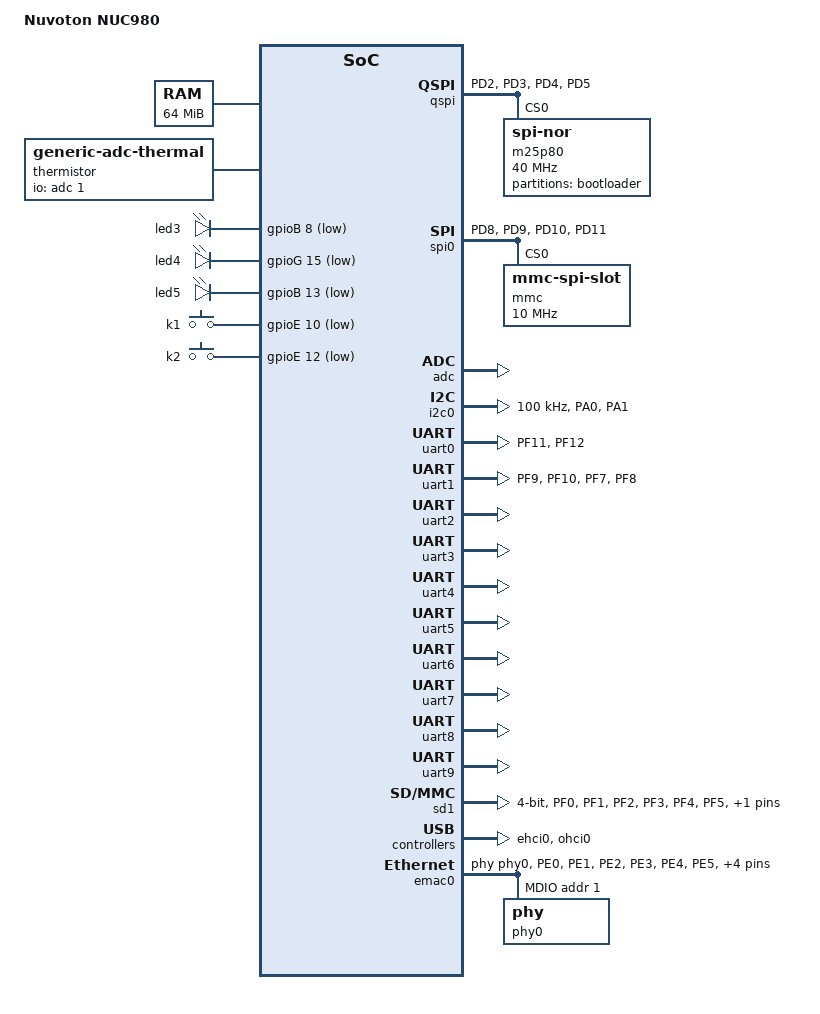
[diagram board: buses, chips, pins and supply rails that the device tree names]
/dts-v1/;

/ {
	compatible = "nuvoton,nuc980";
	model = "Nuvoton NUC980";
	#address-cells = <1>;
	#size-cells = <1>;

	cpus {
		cpu {
			compatible = "arm,arm926ej-s";
			device_type = "cpu";
			clocks = <&clk 0x10 0 0>;
		};
	};

	aliases {
		serial0 = &uart0;
		serial1 = &uart1;
		serial2 = &uart2;
		serial3 = &uart3;
		serial4 = &uart4;
		serial5 = &uart5;
		serial6 = &uart6;
		serial7 = &uart7;
		serial8 = &uart8;
		serial9 = &uart9;
		mdio-gpio1 = &mdio1;
	};

	chosen {
		bootargs = "console=ttyS0,115200n8 earlycon";
		// bootargs = "console=ttyS0,115200n8 earlyprintk ignore_loglevel lpj=744448";
		stdout-path = "serial0";
		linux,initrd-start = <0xFFFFFFFF>; // placeholder, bootloader sets correct values
		linux,initrd-end = <0xFFFFFFFF>;
	};

	memory {
		device_type = "memory";
		reg = <0 0x4000000>;
	};

	thermal-zones {
		board {
			polling-delay = <15000>;
			polling-delay-passive = <0>;
			thermal-sensors = <&thermistor>;
		};
	};

	apb {
		compatible = "simple-bus";
		ranges;
		#address-cells = <1>;
		#size-cells = <1>;

		aic: nuc980-aic@b0042000 {
			compatible = "nuvoton,nuc980-aic";
			reg = <0xb0042000 0x1000>;
			resets = <&reset 0x64 4>;
			interrupt-controller;
			#interrupt-cells = <2>;
		};

		clk: nuc980-clk@b00000100 {
			compatible = "nuvoton,nuc980-clk";
			reg = <0xb0000200 0x100>;
			#clock-cells = <3>;
		};

		qspi: nuc980-spi@b00610000 {
			compatible = "nuvoton,nuc980-spi";
			reg = <0xb0060000 0x40>;
			clocks = <&clk 0x1c 4 0>, <&clk 0x1c 4 1>;
			clock-names = "pclk", "eclk";
			resets = <&reset 0x68 4>;
			interrupts-extended = <&aic 51 4>;
			dmas = <&pdma0 20>, <&pdma0 21>;
			dma-names = "tx", "rx";
			num-chipselects = <1>;
			// nuvoton,enable-dual;
			// nuvoton,enable-quad;
			pinctrl-names = "default";
			pinctrl-0 = <&pinctrl_qspi>;
			#address-cells = <1>;
			#size-cells = <0>;
			m25p80@0 {
				compatible = "jedec,spi-nor";
				reg = <0>;
				spi-max-frequency = <40000000>;
				#address-cells = <1>;
				#size-cells = <1>;
				bootloader: partition@0 {
					label = "bootloader";
					reg = <0x0 0x40000>;
				};
				test: test@40000 {
					label = "test";
					reg = <0x40005 0x41000>;
				};
			};
		};

		spi0: nuc980-spi@b0061000 {
			compatible = "nuvoton,nuc980-spi";
			reg = <0xb0061000 0x40>;
			clocks = <&clk 0x1c 5 0>, <&clk 0x1c 5 1>;
			clock-names = "pclk", "eclk";
			resets = <&reset 0x68 5>;
			interrupts-extended  = <&aic 52 4>;
			num-chipselects = <2>;
			pinctrl-names = "default";
			pinctrl-0 = <&pinctrl_spi0>;
			#address-cells = <1>;
			#size-cells = <0>;
			mmc@0 {
				compatible = "mmc-spi-slot";
				reg = <0>;
				spi-max-frequency = <10000000>;
				voltage-ranges = <3300 3300>;
			};
		};

		spi1: nuc980-spi@b0062000 {
			compatible = "nuvoton,nuc980-spi";
			reg = <0xb0062000 0x40>;
			clocks = <&clk 0x1c 6 0>, <&clk 0x1c 6 1>;
			clock-names = "pclk", "eclk";
			resets = <&reset 0x68 6>;
			interrupts-extended = <&aic 50 4>;
			num-chipselects = <2>;
			status = "disabled";
			#address-cells = <1>;
			#size-cells = <0>;
		};

                rtc: nuc980-rtc@b0041000 {
			compatible = "nuvoton,nuc980-rtc";
			reg = <0xb0041000 0x100>;
			clocks = <&clk 0x18 2 0>;
			interrupts-extended = <&aic 15 4>;
		};

		adc: nuc980-adc@b0043000 {
			compatible = "nuvoton,nuc980-adc";
			reg = <0xb0043000 0x100>;
			clocks = <&clk 0x1c 24 0>;
			resets = <&reset 0x68 24>;
			interrupts-extended = <&aic 18 4>;
			sampling-frequency = <3300>;
			#io-channel-cells = <1>;
		};

		thermistor: thermal-sensor {
			compatible = "generic-adc-thermal";
			io-channels = <&adc 1>;
			io-channel-names = "sensor-channel";
			#thermal-sensor-cells = <0>;
		};

		timer0: nuc980-timer@b0050000 {
			compatible = "nuvoton,nuc980-timer";
			reg = <0xb0050000 0x200>;
			clocks = <&clk 0x18 8 0>, <&clk 0x18 8 1>, <&clk 0x18 9 0>, <&clk 0x18 9 1>;
			clock-names = "pclk-a", "eclk-a", "pclk-b", "eclk-b";
			resets = <&reset 0x64 8 &reset 0x64 9>;
			reset-names = "rst-a", "rst-b";
			interrupts-extended = <&aic 16 4>;
		};

		timer1: nuc980-timer@b0051000 {
			compatible = "nuvoton,nuc980-timer";
			reg = <0xb0051000 0x200>;
			clocks = <&clk 0x18 10 0>, <&clk 0x18 10 1>, <&clk 0x18 11 0>, <&clk 0x18 11 1>;
			clock-names = "pclk-a", "eclk-a", "pclk-b", "eclk-b";
			resets = <&reset 0x64 10 &reset 0x64 11>;
			reset-names = "rst-a", "rst-b";
			interrupts-extended = <&aic 30 4>;
			status = "disabled";
		};

		i2c0: nuc980-i2c@b0080000 {
			compatible = "nuvoton,nuc980-i2c";
			reg = <0xb0080000 0x100>;
			clocks = <&clk 0x1c 0 0>;
			resets = <&reset 0x68 0>;
			interrupts-extended = <&aic 53 4>;
			clock-frequency = <100000>;
			pinctrl-0 = <&pinctrl_i2c0>;
			pinctrl-names = "default";
//			status = "disabled";
		};

		uart0: nuc980-uart@b0070000 {
			compatible = "nuvoton,nuc980-uart";
			reg = <0xb0070000 0x100>;
			clocks = <&clk 0x18 16 0>, <&clk 0x18 16 1>;
			clock-names = "pclk", "eclk";
			resets = <&reset 0x64 16>;
			interrupts-extended = <&aic 36 4>;
			pinctrl-0 = <&pinctrl_uart0>;
			pinctrl-names = "default";
		};

		uart1: nuc980-uart@b0071000 {
			compatible = "nuvoton,nuc980-uart";
			reg = <0xb0071000 0x100>;
			clocks = <&clk 0x18 17 0>, <&clk 0x18 17 1>;
			clock-names = "pclk", "eclk";
			resets = <&reset 0x64 17>;
			interrupts-extended = <&aic 37 4>;
			assigned-clocks = <&clk 0x18 17 1>;
			assigned-clock-parents = <&clk 0x64 28 0>;
			assigned-clock-rates = <150000000>;
			pinctrl-0 = <&pinctrl_uart1>;
			pinctrl-names = "default";
			dtr-gpios = <&gpioF 8 1>;
			rng-gpios = <&gpioF 7 1>;
		};

		uart2: nuc980-uart@b0072000 {
			compatible = "nuvoton,nuc980-uart";
			reg = <0xb0072000 0x100>;
			clocks = <&clk 0x18 18 0>, <&clk 0x18 18 1>;
			clock-names = "pclk", "eclk";
			resets = <&reset 0x64 18>;
			interrupts-extended = <&aic 38 4>;
		};

		uart3: nuc980-uart@b0073000 {
			compatible = "nuvoton,nuc980-uart";
			reg = <0xb0073000 0x100>;
			clocks = <&clk 0x18 19 0>, <&clk 0x18 19 1>;
			clock-names = "pclk", "eclk";
			resets = <&reset 0x64 19>;
			interrupts-extended = <&aic 43 4>;
		};

		uart4: nuc980-uart@b0074000 {
			compatible = "nuvoton,nuc980-uart";
			reg = <0xb0074000 0x100>;
			clocks = <&clk 0x18 20 0>, <&clk 0x18 20 1>;
			clock-names = "pclk", "eclk";
			resets = <&reset 0x64 20>;
			interrupts-extended = <&aic 39 4>;
		};

		uart5: nuc980-uart@b0075000 {
			compatible = "nuvoton,nuc980-uart";
			reg = <0xb0075000 0x100>;
			clocks = <&clk 0x18 21 0>, <&clk 0x18 21 1>;
			clock-names = "pclk", "eclk";
			resets = <&reset 0x64 21>;
			interrupts-extended = <&aic 44 4>;
		};

		uart6: nuc980-uart@b0076000 {
			compatible = "nuvoton,nuc980-uart";
			reg = <0xb0076000 0x100>;
			clocks = <&clk 0x18 22 0>, <&clk 0x18 22 1>;
			clock-names = "pclk", "eclk";
			resets = <&reset 0x64 22>;
			interrupts-extended = <&aic 40 4>;
		};

		uart7: nuc980-uart@b0077000 {
			compatible = "nuvoton,nuc980-uart";
			reg = <0xb0077000 0x100>;
			clocks = <&clk 0x18 23 0>, <&clk 0x18 23 1>;
			clock-names = "pclk", "eclk";
			resets = <&reset 0x64 23>;
			interrupts-extended = <&aic 45 4>;
		};

		uart8: nuc980-uart@b0078000 {
			compatible = "nuvoton,nuc980-uart";
			reg = <0xb0078000 0x100>;
			clocks = <&clk 0x18 24 0>, <&clk 0x18 24 1>;
			clock-names = "pclk", "eclk";
			resets = <&reset 0x64 24>;
			interrupts-extended = <&aic 41 4>;
		};

		uart9: nuc980-uart@b0079000 {
			compatible = "nuvoton,nuc980-uart";
			reg = <0xb0079000 0x100>;
			clocks = <&clk 0x18 25 0>, <&clk 0x18 25 1>;
			clock-names = "pclk", "eclk";
			resets = <&reset 0x64 25>;
			interrupts-extended = <&aic 46 4>;
		};
	};

	ahb {
		compatible = "simple-bus";
		ranges;
		#address-cells = <1>;
		#size-cells = <1>;

		syscon: nuc980-syscon@b0000000 {
			compatible = "nuvoton,nuc980-syscon", "syscon";
			reg = <0xb0000000 0x200>;
			#address-cells = <1>;
			#size-cells = <1>;
		};

		reset: nuc980-syscon-reset@b0000060 {
			compatible = "nuvoton,nuc980-syscon-reset";
			syscon = <&syscon>;
			#reset-cells = <2>;
		};

		pdma0: dma-controller@b0008000 {
			compatible = "nuvoton,nuc980-pdma";
			reg = <0xb0008000 0x1000>;
			clocks = <&clk 0x10 12 0>;
			resets = <&reset 0x60 4>;
			interrupts-extended = <&aic 25 4>;
			#dma-cells = <1>;
		};

		sd0: nuc980-sd@b0019000 {
			compatible = "nuvoton,nuc980-sd";
			reg = <0xb0019000 0x1000>;
			clocks = <&clk 0x10 22 0>, <&clk 0x10 22 1>, <&clk 0x10 20 0>;
			clock-names = "hclk", "eclk", "fmiclk";
			resets = <&reset 0x60 20>;
			interrupts-extended = <&aic 28 4>;
			pinctrl-names = "default";
			pinctrl-0 = <&pinctrl_sd0>;
			max-frequency = <30000000>;
			bus-width = <4>;
			cap-sd-highspeed;
			cap-mmc-highspeed;
			disable-wp;
			// cap-sdio-irq;
			broken-cd;
			status = "disabled";
		};

		sd1: nuc980-sd@b0018000 {
			compatible = "nuvoton,nuc980-sd";
			reg = <0xb0018000 0x1000>;
			clocks = <&clk 0x10 30 0>, <&clk 0x10 30 1>;
			clock-names = "hclk", "eclk";
			resets = <&reset 0x60 24>;
			interrupts-extended = <&aic 27 4>;
			pinctrl-names = "default";
			pinctrl-0 = <&pinctrl_sd1>;
			max-frequency = <50000000>;
			bus-width = <4>;
			cap-sd-highspeed;
			cap-mmc-highspeed;
			disable-wp;
			cd-gpios = <&gpioF 6 0>;
			// cap-sdio-irq;
			// broken-cd;
			// status = "disabled";
		};

		pinctrl: nuc980-syscon-pinctrl@b00000070 {
			compatible = "nuvoton,nuc980-syscon-pinctrl";
			ranges;
			syscon = <&syscon>;
			nuvoton,pins =
				/* 0   1   2   3   4   5   6   7   8   9  10  11  12  13  14  15 */ // LQFP128
				<  2   3   4   5   6   7   8  14  15  16  17  18  19   0   0   0>,  // portA
				< 29  36  38  37  31  35  30  34  42   0   0   0   0  93   0   0>,  // portB
				< 44  45  46  47  48  49  50  51  52  53  54  55  56  57  58  59>,  // portC
				<  0   0  61  62  63  65  66  67  68  69  70  71  72  73  74  75>,  // portD
				<105 106 107 108 109 110 111 112 113 114 115 116 117   0   0   0>,  // portE
				< 86  87  88  89  90  91  92  96  97  98  99 100 101   0   0   0>,  // portF
				< 28  27   0  26   0  25  24  23  22  21   0  76  77  78  79  80>;  // portG
			pinctrl-names = "default";
			pinctrl-0 = <&pinctrl_default>;
			#address-cells = <1>;
			#size-cells = <1>;

			gpioA: nuc980-gpio@b0004000 {
				compatible = "nuvoton,nuc980-gpio";
				reg = <0xb0004000 0x40>;
				clocks = <&clk 0x10 11 0>;
				resets = <&reset 0x60 7>;
				interrupts-extended = <&aic 8 4>;
				nuvoton,pinctrl = <&pinctrl 0>;
				interrupt-controller;
				#interrupt-cells = <2>;
				gpio-controller;
				#gpio-cells = <2>;
			};

			gpioB: nuc980-gpio@b0004040 {
				compatible = "nuvoton,nuc980-gpio";
				reg = <0xb0004040 0x40>;
				clocks = <&clk 0x10 11 0>;
				resets = <&reset 0x60 7>;
				interrupts-extended = <&aic 9 4>;
				nuvoton,pinctrl = <&pinctrl 1>;
				interrupt-controller;
				#interrupt-cells = <2>;
				gpio-controller;
				#gpio-cells = <2>;
			};

			gpioC: nuc980-gpio@b0004080 {
				compatible = "nuvoton,nuc980-gpio";
				reg = <0xb0004080 0x40>;
				clocks = <&clk 0x10 11 0>;
				resets = <&reset 0x60 7>;
				interrupts-extended = <&aic 10 4>;
				nuvoton,pinctrl = <&pinctrl 2>;
				interrupt-controller;
				#interrupt-cells = <2>;
				gpio-controller;
				#gpio-cells = <2>;
			};

			gpioD: nuc980-gpio@b00040C0 {
				compatible = "nuvoton,nuc980-gpio";
				reg = <0xb00040C0 0x40>;
				clocks = <&clk 0x10 11 0>;
				resets = <&reset 0x60 7>;
				interrupts-extended = <&aic 11 4>;
				nuvoton,pinctrl = <&pinctrl 3>;
				interrupt-controller;
				#interrupt-cells = <2>;
				gpio-controller;
				#gpio-cells = <2>;
			};

			gpioE: nuc980-gpio@b0004100 {
				compatible = "nuvoton,nuc980-gpio";
				reg = <0xb0004100 0x40>;
				clocks = <&clk 0x10 11 0>;
				resets = <&reset 0x60 7>;
				interrupts-extended = <&aic 49 4>;
				nuvoton,pinctrl = <&pinctrl 4>;
				interrupt-controller;
				#interrupt-cells = <2>;
				gpio-controller;
				#gpio-cells = <2>;
			};

			gpioF: nuc980-gpio@b0004140 {
				compatible = "nuvoton,nuc980-gpio";
				reg = <0xb0004140 0x40>;
				clocks = <&clk 0x10 11 0>;
				resets = <&reset 0x60 7>;
				interrupts-extended = <&aic 57 4>;
				nuvoton,pinctrl = <&pinctrl 5>;
				interrupt-controller;
				#interrupt-cells = <2>;
				gpio-controller;
				#gpio-cells = <2>;
			};

			gpioG: nuc980-gpio@b0004180 {
				compatible = "nuvoton,nuc980-gpio";
				reg = <0xb0004180 0x40>;
				clocks = <&clk 0x10 11 0>;
				resets = <&reset 0x60 7>;
				interrupts-extended = <&aic 63 4>;
				nuvoton,pinctrl = <&pinctrl 6>;
				interrupt-controller;
				#interrupt-cells = <2>;
				gpio-controller;
				#gpio-cells = <2>;
			};

			pinctrl_default: pinctrl_default {
				adc {
					pins = "PB1";
					function = "mfp8";
				};
			};

			pinctrl_buttons: pinctrl_buttons {
				pins = "PE10", "PE12";
				function = "mfp0";
				bias-pull-up;
				input-schmitt-enable = <1>;
				input-debounce = <1>;
			};

			pinctrl_leds: pinctrl_leds {
				pins = "PB8", "PG15", "PB13";
				function = "mfp0";
				drive-push-pull;
			};

			pinctrl_i2c0: pinctrl_i2c0 {
				pins = "PA0", "PA1";
				function = "mfp3";
				// function = "mfp0";
			};

			pinctrl_uart0: pinctrl_uart0 {
				pins = "PF11", "PF12";
				function = "mfp1";
			};

			pinctrl_uart1: pinctrl_uart1 {
				uart {
					// pins = "PF8", "PF9", "PF10";
					pins = "PF9", "PF10";
					function = "mfp2";
				};
				modem {
					pins = "PF7", "PF8";
					functions = "mfp0";
				};
			};

			pinctrl_emac0: pinctrl_emac0 {
				pins = "PE0", "PE1", "PE2", "PE3", "PE4", "PE5", "PE6", "PE7", "PE8", "PE9";
				function = "mfp1";
			};

		/*	emac1 {
				pinctrl_emac1: pinctrl_emac1 {
					pins = "PF0", "PF1", "PF2", "PF3", "PF4", "PF5", "PF6", "PF7";
					function = "mfp1";
				};

				pinctrl_mdio1: pinctrl_mdio1 {
					pins = "PB8", "PF9";
					function = "mfp0";
				};
			};*/

			pinctrl_qspi: pinctrl_qspi {
				pins = "PD2", "PD3", "PD4", "PD5";
				function = "mfp1";
				drive-push-pull;
			};

			pinctrl_spi0: pinctrl_spi0 {
				pins = "PD8", "PD9", "PD10", "PD11";
				function = "mfp1";
				drive-push-pull;
			};

			pinctrl_sd0: pinctrl_sd0 {
				pins = "PC5", "PC6", "PC7", "PC8", "PC9", "PC10", "PC12";
				function = "mfp6";
			};

			pinctrl_sd1: pinctrl_sd1 {
				pins = "PF0", "PF1", "PF2", "PF3", "PF4", "PF5";
				function = "mfp2";
			};

			pinctrl_usbhl: pinctrl_usbhl {
				usbhl0 {
					pins = "PB5", "PB7";
					function = "mfp4";
				};
			};
		};

		ehci0: generic-ehci@b0015000 {
			compatible = "generic-ehci";
			reg = <0xb0015000 0x1000>;
			clocks = <&clk 0x10 18 0>;
			resets = <&reset 0x60 18>;
			interrupts-extended = <&aic 23 4>;
		};

		ohci0: generic-ohci@b0017000 {
			compatible = "generic-ohci";
			reg = <0xb0017000 0x1000>;
			clocks = <&clk 0x10 18 0>;
			resets = <&reset 0x60 18>;
			interrupts-extended = <&aic 24 4>;
		};

		emac0: nuc980-emac@b0012000 {
			compatible = "nuvoton,nuc980-emac";
			reg = <0xb0012000 0x100>;
			clocks = <&clk 0x10 16 0>;
			resets = <&reset 0x60 16>;
			interrupts-extended = <&aic 21 4>, <&aic 19 4>;
			interrupt-names = "tx", "rx";
			phy = <&phy0>;
			mac-address = [00 e0 4c 68 6f aa];
			pinctrl-names = "default";
			pinctrl-0 = <&pinctrl_emac0>;
			mdio0: mdio-bus {
				clocks = <&clk 0x10 16 0>, <&clk 0x10 16 1>;
				clock-names = "hclk", "eclk";
				resets = <&reset 0x60 16>;
				#address-cells = <1>;
				#size-cells = <0>;
				phy0: phy@1 {
					reg = <1>;
				};
			};
		};

		emac1: nuc980-emac@b0022000 {
			compatible = "nuvoton,nuc980-emac";
			reg = <0xb0022000 0x100>;
			clocks = <&clk 0x10 17 0>;
			resets = <&reset 0x60 17>;
			interrupts-extended = <&aic 22 4>, <&aic 20 4>;
			interrupt-names = "tx", "rx";
			phy = <&phy1>;
			mac-address = [00 e0 4c 68 6f ab];
//			pinctrl-names = "default";
//			pinctrl-0 = <&pinctrl_emac1>;
			status = "disabled";
		};
	};

	mdio1: mdio-gpio {
		compatible = "virtual,mdio-gpio";
		gpios = <&gpioF 9 0>, <&gpioF 8 0>;
//		pinctrl-names = "default";
//		pinctrl-0 = <&pinctrl_mdio1>;
		status = "disabled";
		#address-cells = <1>;
		#size-cells = <0>;
		phy1: phy@0 {
			reg = <0>;
		};
	};

	i2c1: gpio-i2c {
		compatible = "i2c-gpio";
		scl-gpios = <&gpioA 1 0>;
		sda-gpios = <&gpioA 0 0>;
		clock-frequency = <100000>;
		pinctrl-0 = <&pinctrl_i2c0>;
		pinctrl-names = "default";
		status = "disabled";
	};

	leds: gpio-leds {
		compatible = "gpio-leds";
		pinctrl-names = "default";
		pinctrl-0 = <&pinctrl_leds>;

		led3 {
			label = "led3";
			gpios = <&gpioB 8 1>;
		};

		led4 {
			label = "led4";
			gpios = <&gpioG 15 1>;
		};

		led5 {
			label = "led5";
			gpios = <&gpioB 13 1>;
		};
	};

	keys: gpio-keys {
		compatible = "gpio-keys";
		pinctrl-names = "default";
		pinctrl-0 = <&pinctrl_buttons>;

		k1 {
			label = "k1";
			interrupts-extended = <&gpioE 10 2>;
			gpios = <&gpioE 10 1>;
			linux,code = <103>;
		};

		k2 {
			label = "k2";
			interrupts-extended = <&gpioE 12 2>;
			gpios = <&gpioE 12 1>;
			linux,code = <103>;
		};
	};
};

